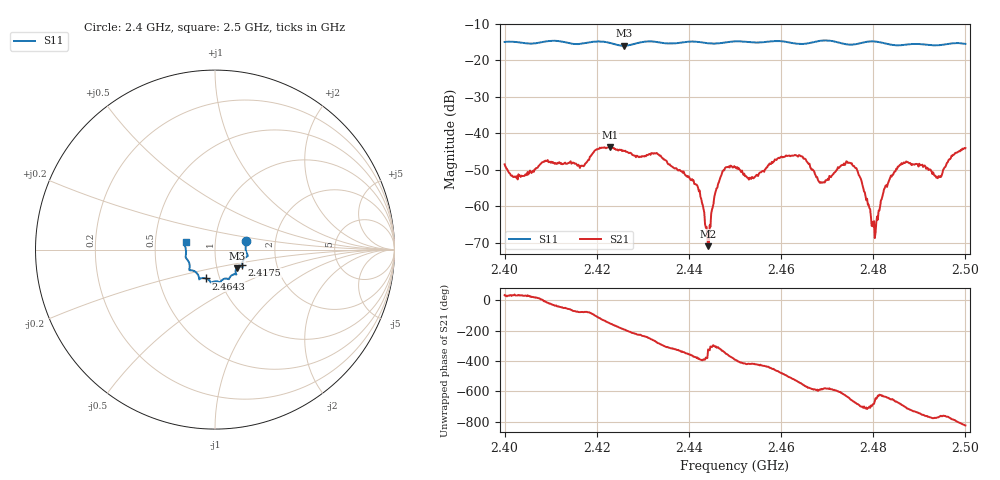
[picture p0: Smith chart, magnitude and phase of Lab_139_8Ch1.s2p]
# Hz S RI R 50
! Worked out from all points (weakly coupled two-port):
!   601 points, 2.4 GHz to 2.5 GHz, reference 50 ohm
!   highest |S21| = -43.72 dB at 2.4228 GHz (marker M1); lowest = -71.0 dB at 2.4442 GHz (marker M2)
!   lowest |S11| = -15.9 dB at 2.4258 GHz (marker M3), VSWR 1.38, Z = 62.3 - j13.2 ohm
!   |S11| at or under -10 dB: start of sweep to end of sweep
!   S12 and S22 are empty: the file has one direction only
!   S11 on the Smith chart (normalised r, x): 2.4 GHz: 1.41, +0.14; 2.4175 GHz: 1.34, -0.23; 2.4643 GHz: 0.86, -0.29; 2.5 GHz: 0.72, +0.06
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2.4e9  0.1729 0.049  0.00315 0.00204  0 0  0 0
2.402333e9  0.1752 0.0388  0.0022 0.00131  0 0  0 0
2.408833e9  0.1801 -0.0275  0.00415 -0.000775  0 0  0 0
2.416667e9  0.1528 -0.0738  0.000753 -0.00352  0 0  0 0
2.4175e9  0.152 -0.0832  0.000827 -0.00375  0 0  0 0
2.422833e9  0.1466 -0.0944  -0.00584 -0.00288  0 0  0 0
2.425833e9  0.1216 -0.1033  -0.00561 0.00129  0 0  0 0
2.433333e9  0.1133 -0.1372  0.00121 0.00503  0 0  0 0
2.4415e9  0.0758 -0.1647  0.00192 -0.000524  0 0  0 0
2.444167e9  0.0622 -0.1606  0.00023 0.000165  0 0  0 0
2.447e9  0.0407 -0.1687  0.00219 0.00146  0 0  0 0
2.45e9  0.0288 -0.1809  0.0029 -0.0018  0 0  0 0
2.4535e9  0.0139 -0.1772  0.00118 -0.00205  0 0  0 0
2.464333e9  -0.0497 -0.1609  -0.00479 0.00063  0 0  0 0
2.466667e9  -0.0757 -0.1593  -0.00224 0.00223  0 0  0 0
2.469e9  -0.0881 -0.1658  -0.00145 0.00154  0 0  0 0
2.475833e9  -0.1144 -0.1206  0.00221 0.0028  0 0  0 0
2.480167e9  -0.1436 -0.1127  0.000494 0.00038  0 0  0 0
2.483333e9  -0.1408 -0.0903  0.000505 0.00211  0 0  0 0
2.487167e9  -0.1559 -0.0548  0.00402 0.000891  0 0  0 0
2.494333e9  -0.1623 0.00187  0.0017 -0.00184  0 0  0 0
2.5e9  -0.1636 0.0428  -0.00159 -0.00606  0 0  0 0
